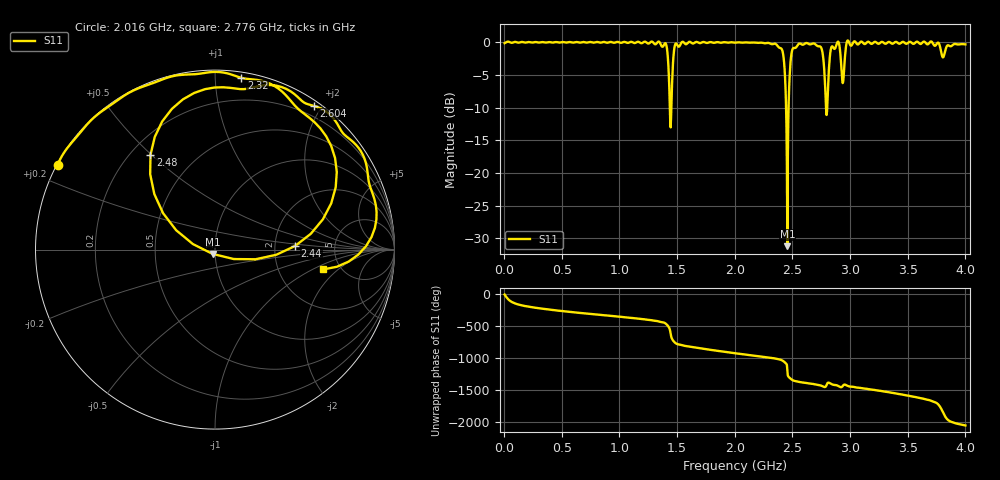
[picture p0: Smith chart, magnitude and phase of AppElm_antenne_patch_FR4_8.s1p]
! TOUCHSTONE file generated by CST MICROWAVE STUDIO
! Date and time: Tue Jun 14 11:51:04 2022
! Project name: AppElm_antenne_patch_FR4.cst
! Parameters = {L=49.5; W=58.5; e=0.035; h=1.6; lambda=0.190476; ls=120; w0=2.54; w1=0.847; ws=120; y0=18; y1=23.8}
! Header version: 2018
! Port assignment regex: !\s*Touchstone port\s*([0-9]+)\s*=\s*(CST MWS port|CST DS port)\s*([0-9]+|Zmin|Zmax)\s*\(\"(.*)\"\)(\s*mode\s*([0-9]+))?.*
! Touchstone port assignment:
! Touchstone port 1 = CST MWS port 1 ("")
# GHz S MA R 50
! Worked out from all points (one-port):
!   1000 points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, 4 MHz to 4 GHz, reference 50 ohm
!   lowest |S11| = -31.2 dB at 2.456 GHz (marker M1), VSWR 1.06, Z = 48.6 - j2.34 ohm
!   |S11| at or under -10 dB: 1.437 GHz to 1.45 GHz (12.8 MHz wide, 0.887 % of centre); 2.445 GHz to 2.467 GHz (21.99 MHz wide, 0.895 % of centre); 2.791542 GHz to 2.801546 GHz (10 MHz wide, 0.358 % of centre)
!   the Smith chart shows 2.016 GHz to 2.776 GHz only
!   S11 on the Smith chart (normalised r, x): 2.016 GHz: 0.00, +0.25; 2.32 GHz: 0.04, +1.16; 2.44 GHz: 2.60, +0.13; 2.48 GHz: 0.28, +0.50; 2.604 GHz: 0.07, +1.89; 2.776 GHz: 3.69, -1.31
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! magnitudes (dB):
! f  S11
! 4 MHz  -0.1
! 504 MHz  0.0
! 1.004 GHz  -0.1
! 1.392 GHz  -0.2
! 1.444 GHz  -13.0
! 1.48 GHz  -0.5
! 1.504 GHz  -0.5
! 2.004 GHz  -0.1
! 2.016 GHz  0.0
! 2.32 GHz  -0.3
! 2.412 GHz  -1.2
! 2.428 GHz  -3.1
! 2.44 GHz  -7.0
! 2.456 GHz  -31.2
! 2.472 GHz  -6.8
! 2.48 GHz  -3.9
! 2.504 GHz  -1.0
! 2.604 GHz  -0.3
! 2.74 GHz  -0.6
! 2.776 GHz  -4.2
! 2.796 GHz  -11.1
! 2.844 GHz  -0.6
! 2.896 GHz  0.1
! 2.936 GHz  -6.2
! 3.004 GHz  -0.5
! 3.504 GHz  -0.1
! 3.808 GHz  -2.3
! 4 GHz  -0.3
